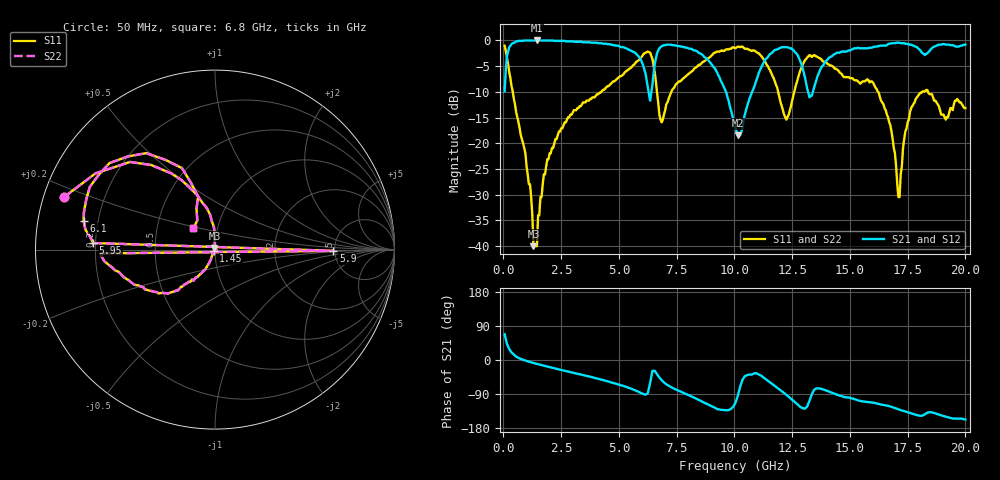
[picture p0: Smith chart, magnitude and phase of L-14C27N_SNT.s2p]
#	mhz	s	ma	r	50
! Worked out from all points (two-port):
!   400 points, 50 MHz to 20 GHz, reference 50 ohm
!   highest |S21| = 0.00 dB at 1.45 GHz (marker M1); lowest = -18.4 dB at 10.15 GHz (marker M2)
!   |S21| within 3 dB of the highest: 155.2 MHz to 5.83 GHz (5.675 GHz wide, 190 % of centre); 14.24 GHz to end of sweep (the widest 2 of 4)
!   lowest |S11| = -40.0 dB at 1.3 GHz (marker M3), VSWR 1.02, Z = 49.7 + j0.95 ohm
!   |S11| at or under -10 dB: 403.5 MHz to 4.231 GHz (3.828 GHz wide, 165 % of centre); 16.22 GHz to 18.13 GHz (1.913 GHz wide, 11.1 % of centre); 18.38 GHz to end of sweep (the widest 3 of 5)
!   |S22| runs from -40.0 to -1.0 dB; largest |S21 - S12| = 0
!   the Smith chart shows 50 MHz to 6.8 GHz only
!   S11 on the Smith chart (normalised r, x): 50 MHz: 0.06, +0.17; 1.45 GHz: 0.99, -0.01; 5.9 GHz: 4.88, -0.12; 5.95 GHz: 0.19, +0.03; 6.1 GHz: 0.14, +0.11; 6.8 GHz: 0.76, +0.19
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50  0.89 160.8  0.32 67.9  0.32 67.9  0.89 160.8
350  0.36 111.4  0.92 19.9  0.92 19.9  0.36 111.4
1300  0.01 107.2  1 -7.9  1 -7.9  0.01 107.2
1450  0.01 -134.5  1 -10.3  1 -10.3  0.01 -134.5
1900  0.07 -113.2  1 -17.2  1 -17.2  0.07 -113.2
3400  0.24 -129.6  0.97 -39.1  0.97 -39.1  0.24 -129.6
5850  0.64 -178.1  0.7 -84.1  0.7 -84.1  0.64 -178.1
5900  0.66 -0.6  0.68 -85.6  0.68 -85.6  0.66 -0.6
5950  0.68 176.9  0.65 -87.1  0.65 -87.1  0.68 176.9
6100  0.75 167.6  0.52 -90.9  0.52 -90.9  0.75 167.6
6700  0.25 114.4  0.8 -41.9  0.8 -41.9  0.25 114.4
6800  0.17 135.1  0.86 -49.8  0.86 -49.8  0.17 135.1
7300  0.33 -0.6  0.9 -73.0  0.9 -73.0  0.33 -0.6
7450  0.37 178.6  0.89 -77.4  0.89 -77.4  0.37 178.6
10050  0.84 110.3  0.14 -112.3  0.14 -112.3  0.84 110.3
10150  0.87 108.7  0.12 -93.3  0.12 -93.3  0.87 108.7
12250  0.17 83.9  0.86 -92.0  0.86 -92.0  0.17 83.9
13350  0.69 76.1  0.29 -90.4  0.29 -90.4  0.69 76.1
16700  0.16 -32.8  0.93 -121.8  0.93 -121.8  0.16 -32.8
17150  0.03 33.4  0.95 -131.4  0.95 -131.4  0.03 33.4
17950  0.29 72.3  0.84 -146.2  0.84 -146.2  0.29 72.3
20000  0.22 -86.8  0.91 -157.0  0.91 -157.0  0.22 -86.8
